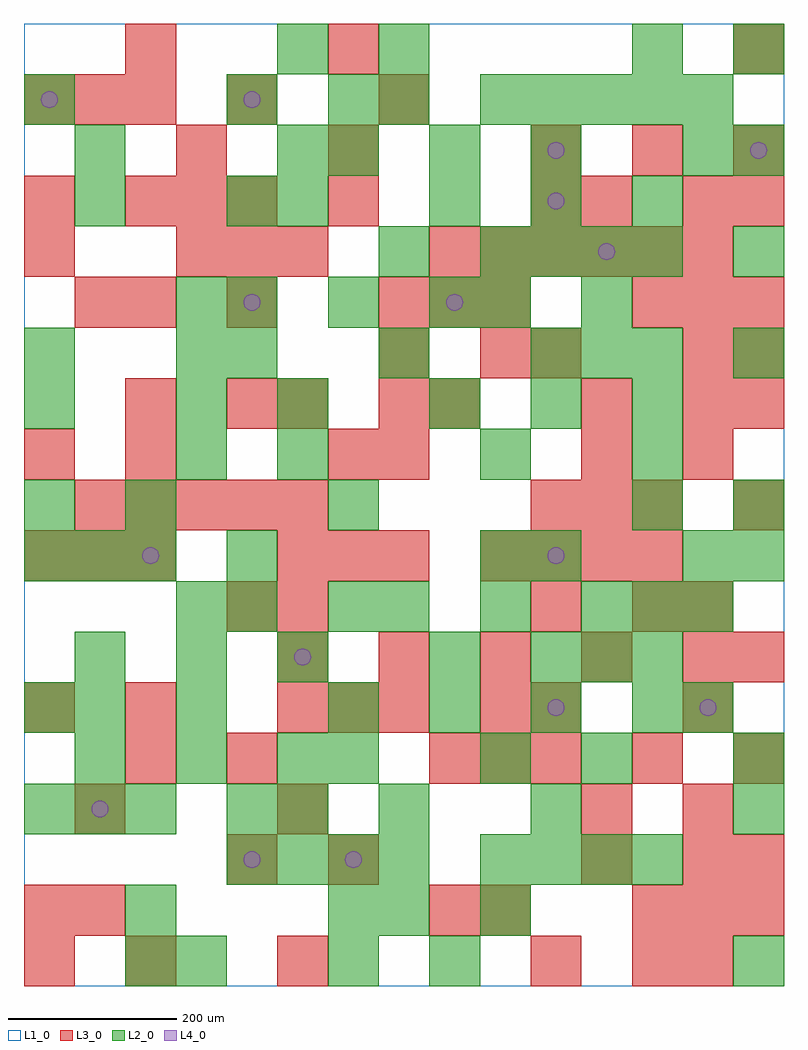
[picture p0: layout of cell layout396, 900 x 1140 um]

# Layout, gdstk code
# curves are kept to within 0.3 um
import gdstk
lib = gdstk.Library(unit=1e-6, precision=1e-09)
def R(c, l, rs):  # rectangles x0, y0, x1, y1
    for r in rs: c.add(gdstk.rectangle(r[:2], r[2:], *l))
def A(c, l, x, y, w, h, nx, ny, dx, dy):  # array of equal rectangles
    R(c, l, [(x+i*dx, y+j*dy, x+i*dx+w, y+j*dy+h) for i in range(nx) for j in range(ny)])
def P(c, l, *ps):  # polygons
    for p in ps: c.add(gdstk.Polygon(p, *l))
L1_0 = (1, 0)
L2_0 = (2, 0)
L3_0 = (3, 0)
L4_0 = (4, 0)

layout396 = lib.new_cell('layout396')
R(layout396, L1_0, [(0,0,900,1140)])
A(layout396, L2_0, 360, 60, 60, 60, 1, 3, 0, 180)
A(layout396, L2_0, 240, 120, 60, 60, 4, 1, 60, 0)
A(layout396, L2_0, 540, 120, 60, 60, 4, 2, 60, 720)
A(layout396, L2_0, 0, 180, 60, 60, 3, 2, 60, 300)
A(layout396, L2_0, 60, 240, 60, 60, 3, 2, 120, 120)
A(layout396, L2_0, 360, 300, 60, 60, 4, 1, 120, 0)
A(layout396, L2_0, 600, 360, 60, 60, 3, 1, 60, 0)
A(layout396, L2_0, 420, 420, 60, 60, 3, 1, 120, 0)
A(layout396, L2_0, 180, 600, 60, 60, 1, 4, 0, 60)
A(layout396, L2_0, 480, 660, 60, 60, 3, 2, 120, 240)
A(layout396, L2_0, 240, 720, 60, 60, 3, 1, 180, 0)
A(layout396, L2_0, 840, 720, 60, 60, 1, 4, 0, 120)
A(layout396, L2_0, 240, 780, 60, 60, 3, 1, 120, 0)
A(layout396, L2_0, 360, 960, 60, 60, 3, 1, 120, 0)
A(layout396, L2_0, 540, 1020, 60, 60, 5, 1, 60, 0)
R(layout396, L2_0, [(120,0,180,60), (180,0,240,60), (360,0,420,60), (480,0,540,60), (840,0,900,60), (120,60,180,120), (420,60,480,120), (540,60,600,120), (240,180,300,240), (300,180,360,240), (420,180,480,240), (600,180,660,240), (840,180,900,240), (540,240,600,300), (660,240,720,300), (840,240,900,300), (0,300,60,360), (60,300,120,360), (180,300,240,360), (780,300,840,360), (480,360,540,420), (180,420,240,480), (240,420,300,480), (720,420,780,480), (780,420,840,480), (240,480,300,540), (540,480,600,540), (600,480,660,540), (780,480,840,540), (840,480,900,540), (0,540,60,600), (120,540,180,600), (360,540,420,600), (720,540,780,600), (840,540,900,600), (300,600,360,660), (540,600,600,660), (720,600,780,660), (0,660,60,720), (300,660,360,720), (0,720,60,780), (660,720,720,780), (720,720,780,780), (540,780,600,840), (660,780,720,840), (420,840,480,900), (60,900,120,960), (240,900,300,960), (300,900,360,960), (60,960,120,1020), (300,960,360,1020), (780,960,840,1020), (0,1020,60,1080), (240,1020,300,1080), (360,1020,420,1080), (420,1020,480,1080), (300,1080,360,1140), (420,1080,480,1140), (720,1080,780,1140)])
A(layout396, L3_0, 720, 60, 60, 60, 3, 2, 60, 720)
A(layout396, L3_0, 840, 120, 60, 60, 1, 3, 0, 120)
A(layout396, L3_0, 300, 180, 60, 60, 1, 3, 0, 240)
A(layout396, L3_0, 780, 180, 60, 60, 1, 3, 0, 120)
A(layout396, L3_0, 480, 240, 60, 60, 3, 1, 60, 0)
A(layout396, L3_0, 300, 300, 60, 60, 3, 2, 60, 180)
A(layout396, L3_0, 300, 360, 60, 60, 5, 1, 120, 0)
A(layout396, L3_0, 0, 480, 60, 60, 3, 2, 60, 540)
A(layout396, L3_0, 540, 480, 60, 60, 4, 1, 60, 0)
A(layout396, L3_0, 60, 540, 60, 60, 5, 1, 60, 0)
A(layout396, L3_0, 600, 540, 60, 60, 3, 1, 60, 0)
A(layout396, L3_0, 420, 600, 60, 60, 1, 3, 0, 60)
A(layout396, L3_0, 780, 600, 60, 60, 1, 3, 0, 60)
A(layout396, L3_0, 840, 720, 60, 60, 1, 3, 0, 180)
A(layout396, L3_0, 420, 780, 60, 60, 3, 1, 60, 0)
A(layout396, L3_0, 180, 840, 60, 60, 3, 1, 60, 0)
A(layout396, L3_0, 480, 840, 60, 60, 6, 1, 60, 0)
A(layout396, L3_0, 120, 900, 60, 60, 3, 1, 60, 0)
A(layout396, L3_0, 600, 960, 60, 60, 3, 1, 120, 0)
R(layout396, L3_0, [(0,0,60,60), (120,0,180,60), (300,0,360,60), (600,0,660,60), (720,0,780,60), (780,0,840,60), (0,60,60,120), (60,60,120,120), (480,60,540,120), (540,60,600,120), (240,120,300,180), (360,120,420,180), (660,120,720,180), (780,120,840,180), (60,180,120,240), (660,180,720,240), (120,240,180,300), (240,240,300,300), (720,240,780,300), (0,300,60,360), (120,300,180,360), (540,300,600,360), (600,300,660,360), (240,420,300,480), (600,420,660,480), (720,420,780,480), (840,540,900,600), (0,600,60,660), (120,600,180,660), (360,600,420,660), (660,600,720,660), (120,660,180,720), (240,660,300,720), (480,660,540,720), (660,660,720,720), (840,660,900,720), (540,720,600,780), (600,720,660,780), (60,780,120,840), (120,780,180,840), (240,780,300,840), (0,840,60,900), (0,900,60,960), (360,900,420,960), (600,900,660,960), (660,900,720,960), (780,900,840,960), (180,960,240,1020), (360,960,420,1020), (240,1020,300,1080), (420,1020,480,1080), (120,1080,180,1140), (360,1080,420,1140)])
P(layout396, L4_0, [(40,1050),(39.239,1053.827),(37.071,1057.071),(33.827,1059.239),(30,1060),(26.173,1059.239),(22.929,1057.071),(20.761,1053.827),(20,1050),(20.761,1046.173),(22.929,1042.929),(26.173,1040.761),(30,1040),(33.827,1040.761),(37.071,1042.929),(39.239,1046.173)],
  [(100,210),(99.239,213.827),(97.071,217.071),(93.827,219.239),(90,220),(86.173,219.239),(82.929,217.071),(80.761,213.827),(80,210),(80.761,206.173),(82.929,202.929),(86.173,200.761),(90,200),(93.827,200.761),(97.071,202.929),(99.239,206.173)],
  [(160,510),(159.239,513.827),(157.071,517.071),(153.827,519.239),(150,520),(146.173,519.239),(142.929,517.071),(140.761,513.827),(140,510),(140.761,506.173),(142.929,502.929),(146.173,500.761),(150,500),(153.827,500.761),(157.071,502.929),(159.239,506.173)],
  [(280,150),(279.239,153.827),(277.071,157.071),(273.827,159.239),(270,160),(266.173,159.239),(262.929,157.071),(260.761,153.827),(260,150),(260.761,146.173),(262.929,142.929),(266.173,140.761),(270,140),(273.827,140.761),(277.071,142.929),(279.239,146.173)],
  [(280,810),(279.239,813.827),(277.071,817.071),(273.827,819.239),(270,820),(266.173,819.239),(262.929,817.071),(260.761,813.827),(260,810),(260.761,806.173),(262.929,802.929),(266.173,800.761),(270,800),(273.827,800.761),(277.071,802.929),(279.239,806.173)],
  [(280,1050),(279.239,1053.827),(277.071,1057.071),(273.827,1059.239),(270,1060),(266.173,1059.239),(262.929,1057.071),(260.761,1053.827),(260,1050),(260.761,1046.173),(262.929,1042.929),(266.173,1040.761),(270,1040),(273.827,1040.761),(277.071,1042.929),(279.239,1046.173)],
  [(340,390),(339.239,393.827),(337.071,397.071),(333.827,399.239),(330,400),(326.173,399.239),(322.929,397.071),(320.761,393.827),(320,390),(320.761,386.173),(322.929,382.929),(326.173,380.761),(330,380),(333.827,380.761),(337.071,382.929),(339.239,386.173)],
  [(400,150),(399.239,153.827),(397.071,157.071),(393.827,159.239),(390,160),(386.173,159.239),(382.929,157.071),(380.761,153.827),(380,150),(380.761,146.173),(382.929,142.929),(386.173,140.761),(390,140),(393.827,140.761),(397.071,142.929),(399.239,146.173)],
  [(520,810),(519.239,813.827),(517.071,817.071),(513.827,819.239),(510,820),(506.173,819.239),(502.929,817.071),(500.761,813.827),(500,810),(500.761,806.173),(502.929,802.929),(506.173,800.761),(510,800),(513.827,800.761),(517.071,802.929),(519.239,806.173)],
  [(640,330),(639.239,333.827),(637.071,337.071),(633.827,339.239),(630,340),(626.173,339.239),(622.929,337.071),(620.761,333.827),(620,330),(620.761,326.173),(622.929,322.929),(626.173,320.761),(630,320),(633.827,320.761),(637.071,322.929),(639.239,326.173)],
  [(640,510),(639.239,513.827),(637.071,517.071),(633.827,519.239),(630,520),(626.173,519.239),(622.929,517.071),(620.761,513.827),(620,510),(620.761,506.173),(622.929,502.929),(626.173,500.761),(630,500),(633.827,500.761),(637.071,502.929),(639.239,506.173)],
  [(640,930),(639.239,933.827),(637.071,937.071),(633.827,939.239),(630,940),(626.173,939.239),(622.929,937.071),(620.761,933.827),(620,930),(620.761,926.173),(622.929,922.929),(626.173,920.761),(630,920),(633.827,920.761),(637.071,922.929),(639.239,926.173)],
  [(640,990),(639.239,993.827),(637.071,997.071),(633.827,999.239),(630,1000),(626.173,999.239),(622.929,997.071),(620.761,993.827),(620,990),(620.761,986.173),(622.929,982.929),(626.173,980.761),(630,980),(633.827,980.761),(637.071,982.929),(639.239,986.173)],
  [(700,870),(699.239,873.827),(697.071,877.071),(693.827,879.239),(690,880),(686.173,879.239),(682.929,877.071),(680.761,873.827),(680,870),(680.761,866.173),(682.929,862.929),(686.173,860.761),(690,860),(693.827,860.761),(697.071,862.929),(699.239,866.173)],
  [(820,330),(819.239,333.827),(817.071,337.071),(813.827,339.239),(810,340),(806.173,339.239),(802.929,337.071),(800.761,333.827),(800,330),(800.761,326.173),(802.929,322.929),(806.173,320.761),(810,320),(813.827,320.761),(817.071,322.929),(819.239,326.173)],
  [(880,990),(879.239,993.827),(877.071,997.071),(873.827,999.239),(870,1000),(866.173,999.239),(862.929,997.071),(860.761,993.827),(860,990),(860.761,986.173),(862.929,982.929),(866.173,980.761),(870,980),(873.827,980.761),(877.071,982.929),(879.239,986.173)])

lib.write_gds('layout396.gds')
